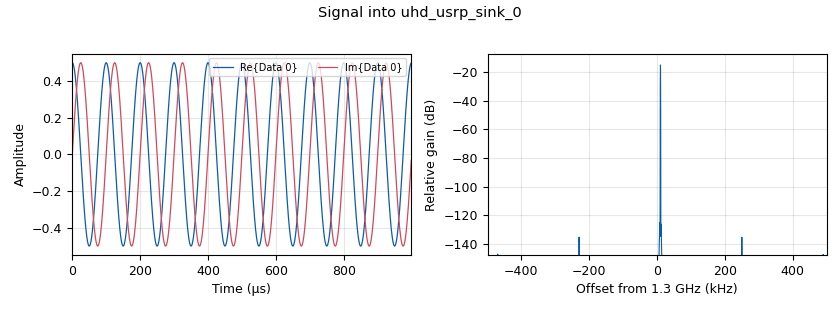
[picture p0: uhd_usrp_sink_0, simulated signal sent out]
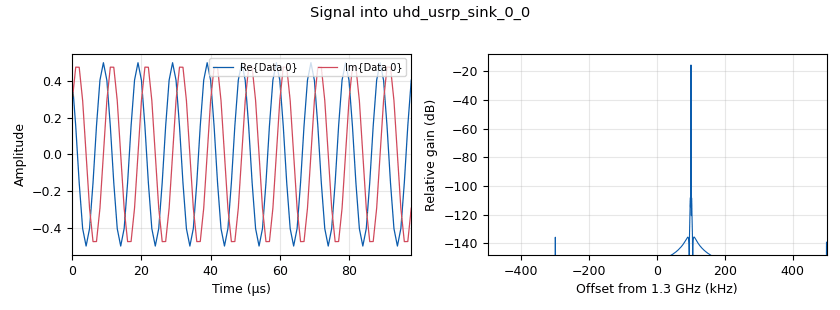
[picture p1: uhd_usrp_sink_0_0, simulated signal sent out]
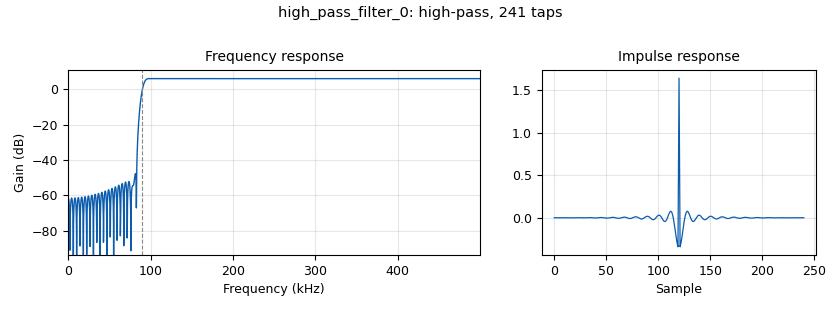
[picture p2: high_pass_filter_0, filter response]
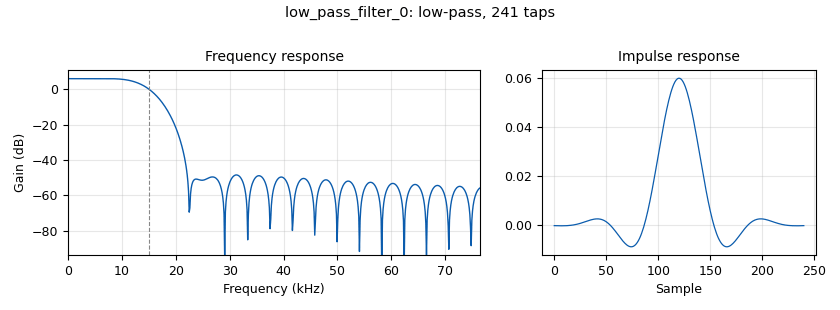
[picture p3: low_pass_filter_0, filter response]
<?xml version='1.0' encoding='utf-8'?>
<?grc format='1' created='3.7.10'?>
<flow_graph>
<block>
<key>options</key>
<param><key>id</key><value>usrp_angle_of_arrival</value></param>
<param><key>generate_options</key><value>qt_gui</value></param>
</block>
<block>
<key>variable</key>
<param><key>id</key><value>center_freq</value></param>
<param><key>value</key><value>1.3e9</value></param>
</block>
<block>
<key>variable</key>
<param><key>id</key><value>cut_off</value></param>
<param><key>value</key><value>15e3</value></param>
</block>
<block>
<key>variable</key>
<param><key>id</key><value>cut_off_h</value></param>
<param><key>value</key><value>90e3</value></param>
</block>
<block>
<key>variable</key>
<param><key>id</key><value>gain</value></param>
<param><key>value</key><value>2</value></param>
</block>
<block>
<key>variable</key>
<param><key>id</key><value>gain_h</value></param>
<param><key>value</key><value>2</value></param>
</block>
<block>
<key>variable</key>
<param><key>id</key><value>keep</value></param>
<param><key>value</key><value>250</value></param>
</block>
<block>
<key>variable</key>
<param><key>id</key><value>ref_freq</value></param>
<param><key>value</key><value>10e3</value></param>
</block>
<block>
<key>variable_qtgui_range</key>
<param><key>id</key><value>ref_gain</value></param>
<param><key>value</key><value>16</value></param>
<param><key>label</key><value>ref_gain</value></param>
<param><key>orient</key><value>Qt.Horizontal</value></param>
<param><key>start</key><value>0</value></param>
<param><key>step</key><value>1</value></param>
<param><key>stop</key><value>100</value></param>
</block>
<block>
<key>variable</key>
<param><key>id</key><value>samp_rate</value></param>
<param><key>value</key><value>1e6</value></param>
</block>
<block>
<key>variable</key>
<param><key>id</key><value>tar_freq</value></param>
<param><key>value</key><value>100e3</value></param>
</block>
<block>
<key>variable</key>
<param><key>id</key><value>tar_freq_0</value></param>
<param><key>value</key><value>100e3</value></param>
</block>
<block>
<key>variable_qtgui_range</key>
<param><key>id</key><value>tar_gain</value></param>
<param><key>value</key><value>40</value></param>
<param><key>label</key><value>tar_gain</value></param>
<param><key>orient</key><value>Qt.Horizontal</value></param>
<param><key>start</key><value>0</value></param>
<param><key>step</key><value>1</value></param>
<param><key>stop</key><value>100</value></param>
</block>
<block>
<key>variable</key>
<param><key>id</key><value>transition</value></param>
<param><key>value</key><value>10e3</value></param>
</block>
<block>
<key>variable</key>
<param><key>id</key><value>transition_h</value></param>
<param><key>value</key><value>10e3</value></param>
</block>
<block>
<key>variable_qtgui_range</key>
<param><key>id</key><value>tresh</value></param>
<param><key>value</key><value>0.0005</value></param>
<param><key>label</key><value>tresh</value></param>
<param><key>orient</key><value>Qt.Horizontal</value></param>
<param><key>start</key><value>0.0005</value></param>
<param><key>step</key><value>0.0001</value></param>
<param><key>stop</key><value>1</value></param>
</block>
<block>
<key>variable_qtgui_range</key>
<param><key>id</key><value>usrp1_gain</value></param>
<param><key>value</key><value>40</value></param>
<param><key>label</key><value>usrp1_gain</value></param>
<param><key>orient</key><value>Qt.Horizontal</value></param>
<param><key>start</key><value>0</value></param>
<param><key>step</key><value>1</value></param>
<param><key>stop</key><value>100</value></param>
</block>
<block>
<key>variable_qtgui_range</key>
<param><key>id</key><value>usrp2_gain</value></param>
<param><key>value</key><value>40</value></param>
<param><key>label</key><value>usrp2_gain</value></param>
<param><key>orient</key><value>Qt.Horizontal</value></param>
<param><key>start</key><value>0</value></param>
<param><key>step</key><value>1</value></param>
<param><key>stop</key><value>100</value></param>
</block>
<block>
<key>variable</key>
<param><key>id</key><value>vec_size</value></param>
<param><key>value</key><value>1024</value></param>
</block>
<block>
<key>analog_sig_source_x</key>
<param><key>id</key><value>analog_sig_source_x_0</value></param>
<param><key>amp</key><value>0.5</value></param>
<param><key>freq</key><value>ref_freq</value></param>
<param><key>offset</key><value>0</value></param>
<param><key>type</key><value>complex</value></param>
<param><key>samp_rate</key><value>samp_rate</value></param>
<param><key>waveform</key><value>analog.GR_COS_WAVE</value></param>
</block>
<block>
<key>analog_sig_source_x</key>
<param><key>id</key><value>analog_sig_source_x_0_0</value></param>
<param><key>amp</key><value>0.5</value></param>
<param><key>freq</key><value>tar_freq</value></param>
<param><key>offset</key><value>0</value></param>
<param><key>type</key><value>complex</value></param>
<param><key>samp_rate</key><value>samp_rate</value></param>
<param><key>waveform</key><value>analog.GR_COS_WAVE</value></param>
</block>
<block>
<key>blocks_complex_to_magphase</key>
<param><key>id</key><value>blocks_complex_to_magphase_0</value></param>
<param><key>_enabled</key><value>0</value></param>
</block>
<block>
<key>blocks_complex_to_magphase</key>
<param><key>id</key><value>blocks_complex_to_magphase_0_0</value></param>
<param><key>_enabled</key><value>0</value></param>
</block>
<block>
<key>blocks_complex_to_magphase</key>
<param><key>id</key><value>blocks_complex_to_magphase_0_1</value></param>
<param><key>_enabled</key><value>0</value></param>
</block>
<block>
<key>blocks_complex_to_magphase</key>
<param><key>id</key><value>blocks_complex_to_magphase_0_2</value></param>
<param><key>_enabled</key><value>0</value></param>
</block>
<block>
<key>blocks_keep_one_in_n</key>
<param><key>id</key><value>blocks_keep_one_in_n_0</value></param>
<param><key>n</key><value>keep</value></param>
<param><key>type</key><value>complex</value></param>
<param><key>vlen</key><value>vec_size</value></param>
</block>
<block>
<key>blocks_keep_one_in_n</key>
<param><key>id</key><value>blocks_keep_one_in_n_0_0</value></param>
<param><key>n</key><value>keep</value></param>
<param><key>type</key><value>complex</value></param>
<param><key>vlen</key><value>vec_size</value></param>
</block>
<block>
<key>blocks_keep_one_in_n</key>
<param><key>id</key><value>blocks_keep_one_in_n_0_1</value></param>
<param><key>n</key><value>keep</value></param>
<param><key>type</key><value>complex</value></param>
<param><key>vlen</key><value>vec_size</value></param>
</block>
<block>
<key>blocks_keep_one_in_n</key>
<param><key>id</key><value>blocks_keep_one_in_n_0_2</value></param>
<param><key>n</key><value>keep</value></param>
<param><key>type</key><value>complex</value></param>
<param><key>vlen</key><value>vec_size</value></param>
</block>
<block>
<key>blocks_multiply_xx</key>
<param><key>id</key><value>blocks_multiply_xx_0</value></param>
<param><key>type</key><value>complex</value></param>
</block>
<block>
<key>blocks_multiply_xx</key>
<param><key>id</key><value>blocks_multiply_xx_0_0</value></param>
<param><key>type</key><value>complex</value></param>
</block>
<block>
<key>blocks_multiply_xx</key>
<param><key>id</key><value>blocks_multiply_xx_0_1</value></param>
<param><key>type</key><value>complex</value></param>
</block>
<block>
<key>blocks_multiply_xx</key>
<param><key>id</key><value>blocks_multiply_xx_0_2</value></param>
<param><key>type</key><value>complex</value></param>
</block>
<block>
<key>blocks_null_sink</key>
<param><key>id</key><value>blocks_null_sink_0</value></param>
<param><key>bus_conns</key><value>[[0,],]</value></param>
<param><key>_enabled</key><value>0</value></param>
<param><key>type</key><value>float</value></param>
</block>
<block>
<key>blocks_null_sink</key>
<param><key>id</key><value>blocks_null_sink_0_0</value></param>
<param><key>bus_conns</key><value>[[0,],]</value></param>
<param><key>_enabled</key><value>0</value></param>
<param><key>type</key><value>float</value></param>
</block>
<block>
<key>blocks_null_sink</key>
<param><key>id</key><value>blocks_null_sink_0_1</value></param>
<param><key>bus_conns</key><value>[[0,],]</value></param>
<param><key>_enabled</key><value>0</value></param>
<param><key>type</key><value>float</value></param>
</block>
<block>
<key>blocks_null_sink</key>
<param><key>id</key><value>blocks_null_sink_0_2</value></param>
<param><key>bus_conns</key><value>[[0,],]</value></param>
<param><key>_enabled</key><value>0</value></param>
<param><key>type</key><value>float</value></param>
</block>
<block>
<key>blocks_stream_to_vector</key>
<param><key>id</key><value>blocks_stream_to_vector_0</value></param>
<param><key>type</key><value>complex</value></param>
<param><key>num_items</key><value>vec_size</value></param>
</block>
<block>
<key>blocks_stream_to_vector</key>
<param><key>id</key><value>blocks_stream_to_vector_0_0</value></param>
<param><key>type</key><value>complex</value></param>
<param><key>num_items</key><value>vec_size</value></param>
</block>
<block>
<key>blocks_stream_to_vector</key>
<param><key>id</key><value>blocks_stream_to_vector_0_0_0</value></param>
<param><key>type</key><value>complex</value></param>
<param><key>num_items</key><value>vec_size</value></param>
</block>
<block>
<key>blocks_stream_to_vector</key>
<param><key>id</key><value>blocks_stream_to_vector_0_1</value></param>
<param><key>type</key><value>complex</value></param>
<param><key>num_items</key><value>vec_size</value></param>
</block>
<block>
<key>high_pass_filter</key>
<param><key>id</key><value>high_pass_filter_0</value></param>
<param><key>cutoff_freq</key><value>cut_off_h</value></param>
<param><key>decim</key><value>1</value></param>
<param><key>type</key><value>fir_filter_ccf</value></param>
<param><key>gain</key><value>gain_h</value></param>
<param><key>samp_rate</key><value>samp_rate</value></param>
<param><key>width</key><value>transition_h</value></param>
<param><key>win</key><value>firdes.WIN_HAMMING</value></param>
</block>
<block>
<key>high_pass_filter</key>
<param><key>id</key><value>high_pass_filter_0_0</value></param>
<param><key>cutoff_freq</key><value>cut_off_h</value></param>
<param><key>decim</key><value>1</value></param>
<param><key>type</key><value>fir_filter_ccf</value></param>
<param><key>gain</key><value>gain_h</value></param>
<param><key>samp_rate</key><value>samp_rate</value></param>
<param><key>width</key><value>transition_h</value></param>
<param><key>win</key><value>firdes.WIN_HAMMING</value></param>
</block>
<block>
<key>high_pass_filter</key>
<param><key>id</key><value>high_pass_filter_0_1</value></param>
<param><key>cutoff_freq</key><value>cut_off_h</value></param>
<param><key>decim</key><value>1</value></param>
<param><key>type</key><value>fir_filter_ccf</value></param>
<param><key>gain</key><value>gain_h</value></param>
<param><key>samp_rate</key><value>samp_rate</value></param>
<param><key>width</key><value>transition_h</value></param>
<param><key>win</key><value>firdes.WIN_HAMMING</value></param>
</block>
<block>
<key>high_pass_filter</key>
<param><key>id</key><value>high_pass_filter_0_2</value></param>
<param><key>cutoff_freq</key><value>cut_off_h</value></param>
<param><key>decim</key><value>1</value></param>
<param><key>type</key><value>fir_filter_ccf</value></param>
<param><key>gain</key><value>gain_h</value></param>
<param><key>samp_rate</key><value>samp_rate</value></param>
<param><key>width</key><value>transition_h</value></param>
<param><key>win</key><value>firdes.WIN_HAMMING</value></param>
</block>
<block>
<key>low_pass_filter</key>
<param><key>id</key><value>low_pass_filter_0</value></param>
<param><key>cutoff_freq</key><value>cut_off</value></param>
<param><key>decim</key><value>1</value></param>
<param><key>type</key><value>fir_filter_ccf</value></param>
<param><key>gain</key><value>gain</value></param>
<param><key>samp_rate</key><value>samp_rate</value></param>
<param><key>width</key><value>transition</value></param>
<param><key>win</key><value>firdes.WIN_HAMMING</value></param>
</block>
<block>
<key>low_pass_filter</key>
<param><key>id</key><value>low_pass_filter_0_0</value></param>
<param><key>cutoff_freq</key><value>cut_off</value></param>
<param><key>decim</key><value>1</value></param>
<param><key>type</key><value>fir_filter_ccf</value></param>
<param><key>gain</key><value>gain</value></param>
<param><key>samp_rate</key><value>samp_rate</value></param>
<param><key>width</key><value>transition</value></param>
<param><key>win</key><value>firdes.WIN_HAMMING</value></param>
</block>
<block>
<key>low_pass_filter</key>
<param><key>id</key><value>low_pass_filter_0_1</value></param>
<param><key>cutoff_freq</key><value>cut_off</value></param>
<param><key>decim</key><value>1</value></param>
<param><key>type</key><value>fir_filter_ccf</value></param>
<param><key>gain</key><value>gain</value></param>
<param><key>samp_rate</key><value>samp_rate</value></param>
<param><key>width</key><value>transition</value></param>
<param><key>win</key><value>firdes.WIN_HAMMING</value></param>
</block>
<block>
<key>low_pass_filter</key>
<param><key>id</key><value>low_pass_filter_0_2</value></param>
<param><key>cutoff_freq</key><value>cut_off</value></param>
<param><key>decim</key><value>1</value></param>
<param><key>type</key><value>fir_filter_ccf</value></param>
<param><key>gain</key><value>gain</value></param>
<param><key>samp_rate</key><value>samp_rate</value></param>
<param><key>width</key><value>transition</value></param>
<param><key>win</key><value>firdes.WIN_HAMMING</value></param>
</block>
<block>
<key>myBlocks_aoa_spectrum_sink</key>
<param><key>id</key><value>myBlocks_aoa_spectrum_sink_0</value></param>
<param><key>array</key><value>0, 0.1154, 0.2308, 0.3462</value></param>
<param><key>fc</key><value>center_freq</value></param>
<param><key>num_inputs</key><value>4</value></param>
<param><key>treshold</key><value>tresh</value></param>
<param><key>vlen</key><value>vec_size</value></param>
</block>
<block>
<key>myBlocks_phaseSync_cc</key>
<param><key>id</key><value>myBlocks_phaseSync_cc_0</value></param>
<param><key>num_inputs</key><value>4</value></param>
<param><key>num_outputs</key><value>4</value></param>
</block>
<block>
<key>note</key>
<param><key>id</key><value>note_0</value></param>
<param><key>note</key><value>RECEIVE dev. 1 &amp; 2</value></param>
</block>
<block>
<key>note</key>
<param><key>id</key><value>note_0_0</value></param>
<param><key>note</key><value>RECEIVE dev. 3 &amp; 4</value></param>
</block>
<block>
<key>note</key>
<param><key>id</key><value>note_0_1</value></param>
<param><key>note</key><value>tx reference</value></param>
</block>
<block>
<key>note</key>
<param><key>id</key><value>note_0_1_0</value></param>
<param><key>note</key><value>tx target</value></param>
</block>
<block>
<key>note</key>
<param><key>id</key><value>note_0_1_0_0</value></param>
<param><key>note</key><value>Low Pass Filter</value></param>
</block>
<block>
<key>note</key>
<param><key>id</key><value>note_0_1_0_0_0</value></param>
<param><key>note</key><value>High Pass Filter</value></param>
</block>
<block>
<key>qtgui_sink_x</key>
<param><key>id</key><value>qtgui_sink_x_0</value></param>
<param><key>bw</key><value>samp_rate</value></param>
<param><key>fc</key><value>0</value></param>
<param><key>freqchangevar</key><value>None</value></param>
<param><key>_enabled</key><value>0</value></param>
<param><key>fftsize</key><value>1024</value></param>
<param><key>name</key><value>"1"</value></param>
<param><key>showports</key><value>True</value></param>
<param><key>type</key><value>complex</value></param>
<param><key>wintype</key><value>firdes.WIN_BLACKMAN_hARRIS</value></param>
</block>
<block>
<key>qtgui_sink_x</key>
<param><key>id</key><value>qtgui_sink_x_0_0</value></param>
<param><key>bw</key><value>samp_rate</value></param>
<param><key>fc</key><value>0</value></param>
<param><key>freqchangevar</key><value>None</value></param>
<param><key>_enabled</key><value>0</value></param>
<param><key>fftsize</key><value>1024</value></param>
<param><key>name</key><value>"2"</value></param>
<param><key>showports</key><value>True</value></param>
<param><key>type</key><value>complex</value></param>
<param><key>wintype</key><value>firdes.WIN_BLACKMAN_hARRIS</value></param>
</block>
<block>
<key>qtgui_sink_x</key>
<param><key>id</key><value>qtgui_sink_x_0_0_0</value></param>
<param><key>bw</key><value>samp_rate</value></param>
<param><key>fc</key><value>0</value></param>
<param><key>freqchangevar</key><value>None</value></param>
<param><key>_enabled</key><value>0</value></param>
<param><key>fftsize</key><value>1024</value></param>
<param><key>name</key><value>"4"</value></param>
<param><key>showports</key><value>True</value></param>
<param><key>type</key><value>complex</value></param>
<param><key>wintype</key><value>firdes.WIN_BLACKMAN_hARRIS</value></param>
</block>
<block>
<key>qtgui_sink_x</key>
<param><key>id</key><value>qtgui_sink_x_0_1</value></param>
<param><key>bw</key><value>samp_rate</value></param>
<param><key>fc</key><value>0</value></param>
<param><key>freqchangevar</key><value>None</value></param>
<param><key>_enabled</key><value>0</value></param>
<param><key>fftsize</key><value>1024</value></param>
<param><key>name</key><value>" TEST 3"</value></param>
<param><key>showports</key><value>True</value></param>
<param><key>type</key><value>complex</value></param>
<param><key>wintype</key><value>firdes.WIN_BLACKMAN_hARRIS</value></param>
</block>
<block>
<key>qtgui_sink_x</key>
<param><key>id</key><value>qtgui_sink_x_0_2</value></param>
<param><key>bw</key><value>samp_rate</value></param>
<param><key>fc</key><value>0</value></param>
<param><key>freqchangevar</key><value>None</value></param>
<param><key>_enabled</key><value>0</value></param>
<param><key>fftsize</key><value>1024</value></param>
<param><key>name</key><value>"1"</value></param>
<param><key>showports</key><value>True</value></param>
<param><key>type</key><value>complex</value></param>
<param><key>wintype</key><value>firdes.WIN_BLACKMAN_hARRIS</value></param>
</block>
<block>
<key>qtgui_sink_x</key>
<param><key>id</key><value>qtgui_sink_x_0_2_0</value></param>
<param><key>bw</key><value>samp_rate</value></param>
<param><key>fc</key><value>0</value></param>
<param><key>freqchangevar</key><value>None</value></param>
<param><key>_enabled</key><value>0</value></param>
<param><key>fftsize</key><value>1024</value></param>
<param><key>name</key><value>"1"</value></param>
<param><key>showports</key><value>True</value></param>
<param><key>type</key><value>complex</value></param>
<param><key>wintype</key><value>firdes.WIN_BLACKMAN_hARRIS</value></param>
</block>
<block>
<key>qtgui_sink_x</key>
<param><key>id</key><value>qtgui_sink_x_0_2_0_0</value></param>
<param><key>bw</key><value>samp_rate</value></param>
<param><key>fc</key><value>0</value></param>
<param><key>freqchangevar</key><value>None</value></param>
<param><key>_enabled</key><value>0</value></param>
<param><key>fftsize</key><value>1024</value></param>
<param><key>name</key><value>"1"</value></param>
<param><key>showports</key><value>True</value></param>
<param><key>type</key><value>complex</value></param>
<param><key>wintype</key><value>firdes.WIN_BLACKMAN_hARRIS</value></param>
</block>
<block>
<key>qtgui_sink_x</key>
<param><key>id</key><value>qtgui_sink_x_0_2_0_1</value></param>
<param><key>bw</key><value>samp_rate</value></param>
<param><key>fc</key><value>0</value></param>
<param><key>freqchangevar</key><value>None</value></param>
<param><key>_enabled</key><value>0</value></param>
<param><key>fftsize</key><value>1024</value></param>
<param><key>name</key><value>"1"</value></param>
<param><key>showports</key><value>True</value></param>
<param><key>type</key><value>complex</value></param>
<param><key>wintype</key><value>firdes.WIN_BLACKMAN_hARRIS</value></param>
</block>
<block>
<key>qtgui_sink_x</key>
<param><key>id</key><value>qtgui_sink_x_0_2_1</value></param>
<param><key>bw</key><value>samp_rate</value></param>
<param><key>fc</key><value>0</value></param>
<param><key>freqchangevar</key><value>None</value></param>
<param><key>_enabled</key><value>0</value></param>
<param><key>fftsize</key><value>1024</value></param>
<param><key>name</key><value>"1"</value></param>
<param><key>showports</key><value>True</value></param>
<param><key>type</key><value>complex</value></param>
<param><key>wintype</key><value>firdes.WIN_BLACKMAN_hARRIS</value></param>
</block>
<block>
<key>qtgui_sink_x</key>
<param><key>id</key><value>qtgui_sink_x_0_2_2</value></param>
<param><key>bw</key><value>samp_rate</value></param>
<param><key>fc</key><value>0</value></param>
<param><key>freqchangevar</key><value>None</value></param>
<param><key>_enabled</key><value>0</value></param>
<param><key>fftsize</key><value>1024</value></param>
<param><key>name</key><value>"1"</value></param>
<param><key>showports</key><value>True</value></param>
<param><key>type</key><value>complex</value></param>
<param><key>wintype</key><value>firdes.WIN_BLACKMAN_hARRIS</value></param>
</block>
<block>
<key>qtgui_sink_x</key>
<param><key>id</key><value>qtgui_sink_x_0_2_3</value></param>
<param><key>bw</key><value>samp_rate</value></param>
<param><key>fc</key><value>0</value></param>
<param><key>freqchangevar</key><value>None</value></param>
<param><key>_enabled</key><value>0</value></param>
<param><key>fftsize</key><value>1024</value></param>
<param><key>name</key><value>"1"</value></param>
<param><key>showports</key><value>True</value></param>
<param><key>type</key><value>complex</value></param>
<param><key>wintype</key><value>firdes.WIN_BLACKMAN_hARRIS</value></param>
</block>
<block>
<key>qtgui_sink_x</key>
<param><key>id</key><value>qtgui_sink_x_0_2_4</value></param>
<param><key>bw</key><value>samp_rate</value></param>
<param><key>fc</key><value>0</value></param>
<param><key>freqchangevar</key><value>None</value></param>
<param><key>_enabled</key><value>0</value></param>
<param><key>fftsize</key><value>1024</value></param>
<param><key>name</key><value>"1"</value></param>
<param><key>showports</key><value>True</value></param>
<param><key>type</key><value>complex</value></param>
<param><key>wintype</key><value>firdes.WIN_BLACKMAN_hARRIS</value></param>
</block>
<block>
<key>qtgui_time_sink_x</key>
<param><key>id</key><value>qtgui_time_sink_x_0</value></param>
<param><key>_enabled</key><value>0</value></param>
<param><key>color1</key><value>"blue"</value></param>
<param><key>label1</key><value></value></param>
<param><key>color2</key><value>"red"</value></param>
<param><key>label2</key><value></value></param>
<param><key>color3</key><value>"green"</value></param>
<param><key>label3</key><value></value></param>
<param><key>color4</key><value>"black"</value></param>
<param><key>label4</key><value></value></param>
<param><key>nconnections</key><value>4</value></param>
<param><key>size</key><value>1024</value></param>
<param><key>srate</key><value>samp_rate</value></param>
<param><key>type</key><value>float</value></param>
</block>
<block>
<key>uhd_usrp_sink</key>
<param><key>id</key><value>uhd_usrp_sink_0</value></param>
<param><key>ant0</key><value>TX/RX</value></param>
<param><key>center_freq0</key><value>center_freq</value></param>
<param><key>norm_gain0</key><value>False</value></param>
<param><key>gain0</key><value>ref_gain</value></param>
<param><key>clock_rate</key><value>0.0</value></param>
<param><key>dev_addr</key><value>"addr=164.8.30.120"</value></param>
<param><key>dev_args</key><value>""</value></param>
<param><key>type</key><value>fc32</value></param>
<param><key>samp_rate</key><value>samp_rate</value></param>
<param><key>hide_cmd_port</key><value>False</value></param>
<param><key>hide_lo_controls</key><value>True</value></param>
<param><key>sync</key><value></value></param>
<param><key>len_tag_name</key><value></value></param>
</block>
<block>
<key>uhd_usrp_sink</key>
<param><key>id</key><value>uhd_usrp_sink_0_0</value></param>
<param><key>ant0</key><value>TX/RX</value></param>
<param><key>center_freq0</key><value>center_freq</value></param>
<param><key>norm_gain0</key><value>False</value></param>
<param><key>gain0</key><value>tar_gain</value></param>
<param><key>clock_rate</key><value>0.0</value></param>
<param><key>dev_addr</key><value>"addr=164.8.30.119"</value></param>
<param><key>dev_args</key><value>""</value></param>
<param><key>type</key><value>fc32</value></param>
<param><key>samp_rate</key><value>samp_rate</value></param>
<param><key>hide_cmd_port</key><value>False</value></param>
<param><key>hide_lo_controls</key><value>True</value></param>
<param><key>sync</key><value></value></param>
<param><key>len_tag_name</key><value></value></param>
</block>
<block>
<key>uhd_usrp_source</key>
<param><key>id</key><value>uhd_usrp_source_0</value></param>
<param><key>ant0</key><value>RX2</value></param>
<param><key>center_freq0</key><value>center_freq</value></param>
<param><key>dc_offs_enb0</key><value>""</value></param>
<param><key>iq_imbal_enb0</key><value>""</value></param>
<param><key>norm_gain0</key><value>False</value></param>
<param><key>gain0</key><value>usrp1_gain</value></param>
<param><key>ant1</key><value>RX2</value></param>
<param><key>center_freq1</key><value>center_freq</value></param>
<param><key>dc_offs_enb1</key><value>""</value></param>
<param><key>iq_imbal_enb1</key><value>""</value></param>
<param><key>norm_gain1</key><value>False</value></param>
<param><key>gain1</key><value>usrp1_gain</value></param>
<param><key>clock_rate</key><value>0.0</value></param>
<param><key>dev_addr</key><value>"addr=192.168.40.2"</value></param>
<param><key>dev_args</key><value>""</value></param>
<param><key>clock_source0</key><value>external</value></param>
<param><key>sd_spec0</key><value>"A:0 B:0"</value></param>
<param><key>time_source0</key><value>external</value></param>
<param><key>nchan</key><value>2</value></param>
<param><key>type</key><value>fc32</value></param>
<param><key>samp_rate</key><value>samp_rate</value></param>
<param><key>hide_cmd_port</key><value>False</value></param>
<param><key>hide_lo_controls</key><value>True</value></param>
<param><key>sync</key><value>sync</value></param>
</block>
<block>
<key>uhd_usrp_source</key>
<param><key>id</key><value>uhd_usrp_source_0_0</value></param>
<param><key>ant0</key><value>RX2</value></param>
<param><key>center_freq0</key><value>center_freq</value></param>
<param><key>dc_offs_enb0</key><value>""</value></param>
<param><key>iq_imbal_enb0</key><value>""</value></param>
<param><key>norm_gain0</key><value>False</value></param>
<param><key>gain0</key><value>usrp2_gain</value></param>
<param><key>ant1</key><value>RX2</value></param>
<param><key>center_freq1</key><value>center_freq</value></param>
<param><key>dc_offs_enb1</key><value>""</value></param>
<param><key>iq_imbal_enb1</key><value>""</value></param>
<param><key>norm_gain1</key><value>False</value></param>
<param><key>gain1</key><value>usrp2_gain</value></param>
<param><key>clock_rate</key><value>0.0</value></param>
<param><key>dev_addr</key><value>"addr=164.8.30.121"</value></param>
<param><key>dev_args</key><value>""</value></param>
<param><key>clock_source0</key><value>external</value></param>
<param><key>sd_spec0</key><value>"A:0 B:0"</value></param>
<param><key>time_source0</key><value>external</value></param>
<param><key>nchan</key><value>2</value></param>
<param><key>type</key><value>fc32</value></param>
<param><key>samp_rate</key><value>samp_rate</value></param>
<param><key>hide_cmd_port</key><value>False</value></param>
<param><key>hide_lo_controls</key><value>True</value></param>
<param><key>sync</key><value>sync</value></param>
</block>
<connection><source_block_id>analog_sig_source_x_0</source_block_id><sink_block_id>uhd_usrp_sink_0</sink_block_id><source_key>0</source_key><sink_key>0</sink_key></connection>
<connection><source_block_id>analog_sig_source_x_0_0</source_block_id><sink_block_id>uhd_usrp_sink_0_0</sink_block_id><source_key>0</source_key><sink_key>0</sink_key></connection>
<connection><source_block_id>blocks_complex_to_magphase_0</source_block_id><sink_block_id>blocks_null_sink_0</sink_block_id><source_key>0</source_key><sink_key>0</sink_key></connection>
<connection><source_block_id>blocks_complex_to_magphase_0</source_block_id><sink_block_id>qtgui_time_sink_x_0</sink_block_id><source_key>1</source_key><sink_key>0</sink_key></connection>
<connection><source_block_id>blocks_complex_to_magphase_0_0</source_block_id><sink_block_id>blocks_null_sink_0_0</sink_block_id><source_key>0</source_key><sink_key>0</sink_key></connection>
<connection><source_block_id>blocks_complex_to_magphase_0_0</source_block_id><sink_block_id>qtgui_time_sink_x_0</sink_block_id><source_key>1</source_key><sink_key>1</sink_key></connection>
<connection><source_block_id>blocks_complex_to_magphase_0_1</source_block_id><sink_block_id>blocks_null_sink_0_1</sink_block_id><source_key>0</source_key><sink_key>0</sink_key></connection>
<connection><source_block_id>blocks_complex_to_magphase_0_1</source_block_id><sink_block_id>qtgui_time_sink_x_0</sink_block_id><source_key>1</source_key><sink_key>2</sink_key></connection>
<connection><source_block_id>blocks_complex_to_magphase_0_2</source_block_id><sink_block_id>blocks_null_sink_0_2</sink_block_id><source_key>0</source_key><sink_key>0</sink_key></connection>
<connection><source_block_id>blocks_complex_to_magphase_0_2</source_block_id><sink_block_id>qtgui_time_sink_x_0</sink_block_id><source_key>1</source_key><sink_key>3</sink_key></connection>
<connection><source_block_id>blocks_keep_one_in_n_0</source_block_id><sink_block_id>myBlocks_aoa_spectrum_sink_0</sink_block_id><source_key>0</source_key><sink_key>0</sink_key></connection>
<connection><source_block_id>blocks_keep_one_in_n_0_0</source_block_id><sink_block_id>myBlocks_aoa_spectrum_sink_0</sink_block_id><source_key>0</source_key><sink_key>1</sink_key></connection>
<connection><source_block_id>blocks_keep_one_in_n_0_1</source_block_id><sink_block_id>myBlocks_aoa_spectrum_sink_0</sink_block_id><source_key>0</source_key><sink_key>2</sink_key></connection>
<connection><source_block_id>blocks_keep_one_in_n_0_2</source_block_id><sink_block_id>myBlocks_aoa_spectrum_sink_0</sink_block_id><source_key>0</source_key><sink_key>3</sink_key></connection>
<connection><source_block_id>blocks_multiply_xx_0</source_block_id><sink_block_id>blocks_complex_to_magphase_0</sink_block_id><source_key>0</source_key><sink_key>0</sink_key></connection>
<connection><source_block_id>blocks_multiply_xx_0</source_block_id><sink_block_id>blocks_stream_to_vector_0</sink_block_id><source_key>0</source_key><sink_key>0</sink_key></connection>
<connection><source_block_id>blocks_multiply_xx_0_0</source_block_id><sink_block_id>blocks_complex_to_magphase_0_0</sink_block_id><source_key>0</source_key><sink_key>0</sink_key></connection>
<connection><source_block_id>blocks_multiply_xx_0_0</source_block_id><sink_block_id>blocks_stream_to_vector_0_0</sink_block_id><source_key>0</source_key><sink_key>0</sink_key></connection>
<connection><source_block_id>blocks_multiply_xx_0_1</source_block_id><sink_block_id>blocks_complex_to_magphase_0_1</sink_block_id><source_key>0</source_key><sink_key>0</sink_key></connection>
<connection><source_block_id>blocks_multiply_xx_0_1</source_block_id><sink_block_id>blocks_stream_to_vector_0_1</sink_block_id><source_key>0</source_key><sink_key>0</sink_key></connection>
<connection><source_block_id>blocks_multiply_xx_0_2</source_block_id><sink_block_id>blocks_complex_to_magphase_0_2</sink_block_id><source_key>0</source_key><sink_key>0</sink_key></connection>
<connection><source_block_id>blocks_multiply_xx_0_2</source_block_id><sink_block_id>blocks_stream_to_vector_0_0_0</sink_block_id><source_key>0</source_key><sink_key>0</sink_key></connection>
<connection><source_block_id>blocks_stream_to_vector_0</source_block_id><sink_block_id>blocks_keep_one_in_n_0</sink_block_id><source_key>0</source_key><sink_key>0</sink_key></connection>
<connection><source_block_id>blocks_stream_to_vector_0_0</source_block_id><sink_block_id>blocks_keep_one_in_n_0_0</sink_block_id><source_key>0</source_key><sink_key>0</sink_key></connection>
<connection><source_block_id>blocks_stream_to_vector_0_0_0</source_block_id><sink_block_id>blocks_keep_one_in_n_0_2</sink_block_id><source_key>0</source_key><sink_key>0</sink_key></connection>
<connection><source_block_id>blocks_stream_to_vector_0_1</source_block_id><sink_block_id>blocks_keep_one_in_n_0_1</sink_block_id><source_key>0</source_key><sink_key>0</sink_key></connection>
<connection><source_block_id>high_pass_filter_0</source_block_id><sink_block_id>blocks_multiply_xx_0</sink_block_id><source_key>0</source_key><sink_key>0</sink_key></connection>
<connection><source_block_id>high_pass_filter_0</source_block_id><sink_block_id>qtgui_sink_x_0_2_3</sink_block_id><source_key>0</source_key><sink_key>0</sink_key></connection>
<connection><source_block_id>high_pass_filter_0_0</source_block_id><sink_block_id>blocks_multiply_xx_0_0</sink_block_id><source_key>0</source_key><sink_key>0</sink_key></connection>
<connection><source_block_id>high_pass_filter_0_0</source_block_id><sink_block_id>qtgui_sink_x_0_2_0_0</sink_block_id><source_key>0</source_key><sink_key>0</sink_key></connection>
<connection><source_block_id>high_pass_filter_0_1</source_block_id><sink_block_id>blocks_multiply_xx_0_1</sink_block_id><source_key>0</source_key><sink_key>0</sink_key></connection>
<connection><source_block_id>high_pass_filter_0_1</source_block_id><sink_block_id>qtgui_sink_x_0_2_4</sink_block_id><source_key>0</source_key><sink_key>0</sink_key></connection>
<connection><source_block_id>high_pass_filter_0_2</source_block_id><sink_block_id>blocks_multiply_xx_0_2</sink_block_id><source_key>0</source_key><sink_key>0</sink_key></connection>
<connection><source_block_id>high_pass_filter_0_2</source_block_id><sink_block_id>qtgui_sink_x_0_2_0_1</sink_block_id><source_key>0</source_key><sink_key>0</sink_key></connection>
<connection><source_block_id>low_pass_filter_0</source_block_id><sink_block_id>myBlocks_phaseSync_cc_0</sink_block_id><source_key>0</source_key><sink_key>0</sink_key></connection>
<connection><source_block_id>low_pass_filter_0</source_block_id><sink_block_id>qtgui_sink_x_0_2</sink_block_id><source_key>0</source_key><sink_key>0</sink_key></connection>
<connection><source_block_id>low_pass_filter_0_0</source_block_id><sink_block_id>myBlocks_phaseSync_cc_0</sink_block_id><source_key>0</source_key><sink_key>1</sink_key></connection>
<connection><source_block_id>low_pass_filter_0_0</source_block_id><sink_block_id>qtgui_sink_x_0_2_0</sink_block_id><source_key>0</source_key><sink_key>0</sink_key></connection>
<connection><source_block_id>low_pass_filter_0_1</source_block_id><sink_block_id>myBlocks_phaseSync_cc_0</sink_block_id><source_key>0</source_key><sink_key>2</sink_key></connection>
<connection><source_block_id>low_pass_filter_0_1</source_block_id><sink_block_id>qtgui_sink_x_0_2_1</sink_block_id><source_key>0</source_key><sink_key>0</sink_key></connection>
<connection><source_block_id>low_pass_filter_0_2</source_block_id><sink_block_id>myBlocks_phaseSync_cc_0</sink_block_id><source_key>0</source_key><sink_key>3</sink_key></connection>
<connection><source_block_id>low_pass_filter_0_2</source_block_id><sink_block_id>qtgui_sink_x_0_2_2</sink_block_id><source_key>0</source_key><sink_key>0</sink_key></connection>
<connection><source_block_id>myBlocks_phaseSync_cc_0</source_block_id><sink_block_id>blocks_multiply_xx_0</sink_block_id><source_key>0</source_key><sink_key>1</sink_key></connection>
<connection><source_block_id>myBlocks_phaseSync_cc_0</source_block_id><sink_block_id>blocks_multiply_xx_0_0</sink_block_id><source_key>1</source_key><sink_key>1</sink_key></connection>
<connection><source_block_id>myBlocks_phaseSync_cc_0</source_block_id><sink_block_id>blocks_multiply_xx_0_1</sink_block_id><source_key>2</source_key><sink_key>1</sink_key></connection>
<connection><source_block_id>myBlocks_phaseSync_cc_0</source_block_id><sink_block_id>blocks_multiply_xx_0_2</sink_block_id><source_key>3</source_key><sink_key>1</sink_key></connection>
<connection><source_block_id>uhd_usrp_source_0</source_block_id><sink_block_id>high_pass_filter_0</sink_block_id><source_key>0</source_key><sink_key>0</sink_key></connection>
<connection><source_block_id>uhd_usrp_source_0</source_block_id><sink_block_id>low_pass_filter_0</sink_block_id><source_key>0</source_key><sink_key>0</sink_key></connection>
<connection><source_block_id>uhd_usrp_source_0</source_block_id><sink_block_id>qtgui_sink_x_0</sink_block_id><source_key>0</source_key><sink_key>0</sink_key></connection>
<connection><source_block_id>uhd_usrp_source_0</source_block_id><sink_block_id>high_pass_filter_0_0</sink_block_id><source_key>1</source_key><sink_key>0</sink_key></connection>
<connection><source_block_id>uhd_usrp_source_0</source_block_id><sink_block_id>low_pass_filter_0_0</sink_block_id><source_key>1</source_key><sink_key>0</sink_key></connection>
<connection><source_block_id>uhd_usrp_source_0</source_block_id><sink_block_id>qtgui_sink_x_0_0</sink_block_id><source_key>1</source_key><sink_key>0</sink_key></connection>
<connection><source_block_id>uhd_usrp_source_0_0</source_block_id><sink_block_id>high_pass_filter_0_1</sink_block_id><source_key>0</source_key><sink_key>0</sink_key></connection>
<connection><source_block_id>uhd_usrp_source_0_0</source_block_id><sink_block_id>low_pass_filter_0_1</sink_block_id><source_key>0</source_key><sink_key>0</sink_key></connection>
<connection><source_block_id>uhd_usrp_source_0_0</source_block_id><sink_block_id>qtgui_sink_x_0_1</sink_block_id><source_key>0</source_key><sink_key>0</sink_key></connection>
<connection><source_block_id>uhd_usrp_source_0_0</source_block_id><sink_block_id>high_pass_filter_0_2</sink_block_id><source_key>1</source_key><sink_key>0</sink_key></connection>
<connection><source_block_id>uhd_usrp_source_0_0</source_block_id><sink_block_id>low_pass_filter_0_2</sink_block_id><source_key>1</source_key><sink_key>0</sink_key></connection>
<connection><source_block_id>uhd_usrp_source_0_0</source_block_id><sink_block_id>qtgui_sink_x_0_0_0</sink_block_id><source_key>1</source_key><sink_key>0</sink_key></connection>
</flow_graph>
